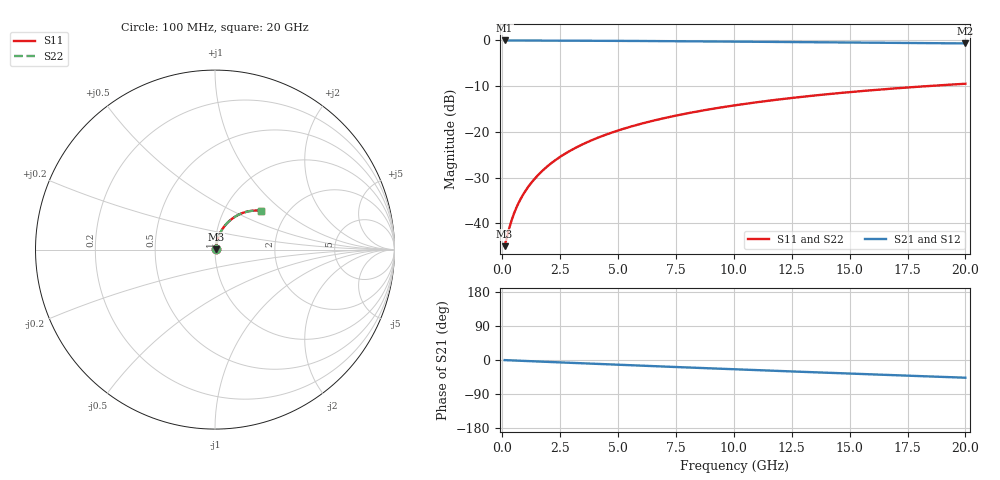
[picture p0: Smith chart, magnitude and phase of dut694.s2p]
! Touchstone file exported from HFSS 2026.1.0
!  File:  C:/ffzhzh/LocalFiles/Ansys_Project_Files/temp_train_TMRDL_694_1783010346_53980.aedt
!  Generated:  12:40:20 AM Jul  3, 2026
!  Design:  TMRDL
!  Project:  temp_train_TMRDL_694_1783010346_53980
! Variables:
!  h_bsmrdl = 2um
!  h_ox = 20um
!  h_rdl = 5um
!  h_sub = 80um
!  h_tmrdl = 4.17um
!  h_tsv = 80um
!  h_via = 3um
!  l_bsmrdl = 300um
!  l_sub = 1170.51um
!  l_tmrdl = 770.51um
!  m_sub = 200um
!  pitch = 26.23um
!  r_tsv = 6um
!  s_tmrdl = 10um
!  w_bsmrdl = 18um
!  w_sub = 500um
!  w_tmrdl = 12.91um
!  x_tsv_center1 = 776.965um
!  x_tsv_center2 = 1094.965um
!  x_tsv_center3 = 1878.385um
!  x_tsv_center4 = 2196.385um
!  x_tsv_center5 = 2979.805um
!  x_tsv_center6 = 3297.805um
# GHz S MA R 50.000000
! Terminal data exported
! Port[1] = TM_RDL1_1_T1
! Port[2] = TM_RDL1_1_T2
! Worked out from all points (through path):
!   200 points, 100 MHz to 20 GHz, reference 50 ohm
!   highest |S21| = -0.04 dB at 100 MHz (marker M1); lowest = -0.7 dB at 20 GHz (marker M2)
!   group delay of S21, straight-line fit = 6.48 ps
!   lowest |S11| = -44.9 dB at 100 MHz (marker M3), VSWR 1.01, Z = 50.5 + j0.241 ohm
!   |S11| at or under -10 dB: start of sweep to 18.39 GHz
!   |S22| runs from -44.9 to -9.5 dB; largest |S21 - S12| = 2.7e-15
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0.1  0.005656 24.9  0.9949 -0.3  0.9949 -0.3  0.005656 24.9
! Gamma 0 0 0 0
! Port Impedance 50 0 50 0
0.3  0.008895 51.3  0.9945 -0.8  0.9945 -0.8  0.008896 51.3
0.4  0.0108 57.4  0.9943 -1.1  0.9943 -1.1  0.01081 57.4
0.5  0.01275 61.5  0.9941 -1.3  0.9941 -1.3  0.01275 61.5
0.6  0.01471 64.5  0.994 -1.6  0.994 -1.6  0.01472 64.5
0.7  0.01669 66.7  0.9938 -1.8  0.9938 -1.8  0.01669 66.7
0.9  0.02068 70.0  0.9936 -2.3  0.9936 -2.3  0.02068 70.0
1.2  0.02674 72.8  0.9932 -3.1  0.9932 -3.1  0.02675 72.8
1.4  0.03082 74.0  0.993 -3.6  0.993 -3.6  0.03083 74.0
1.7  0.03698 75.0  0.9926 -4.3  0.9926 -4.3  0.03698 75.0
2.2  0.04726 75.7  0.9918 -5.6  0.9918 -5.6  0.04726 75.7
2.8  0.05956 75.6  0.9907 -7.1  0.9907 -7.1  0.05957 75.5
3.5  0.07378 74.8  0.9891 -8.8  0.9891 -8.8  0.07379 74.7
4.2  0.0878 73.6  0.9872 -10.5  0.9872 -10.5  0.08781 73.6
5  0.1035 72.1  0.9849 -12.5  0.9849 -12.5  0.1035 72.1
5.9  0.1208 70.2  0.982 -14.7  0.982 -14.7  0.1208 70.2
6.8  0.1377 68.3  0.9789 -16.9  0.9789 -16.9  0.1377 68.3
8.3  0.1648 65.1  0.9733 -20.4  0.9733 -20.4  0.1648 65.0
10.1  0.1958 61.1  0.9662 -24.7  0.9662 -24.7  0.1958 61.1
13.4  0.2482 54.0  0.9522 -32.2  0.9522 -32.2  0.2483 54.0
16.7  0.2948 47.1  0.9378 -39.6  0.9378 -39.6  0.2949 47.0
20  0.3352 40.3  0.9235 -46.7  0.9235 -46.7  0.3353 40.1
